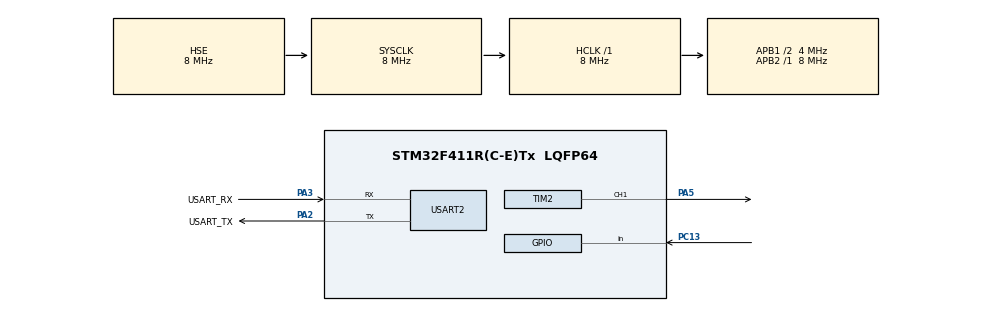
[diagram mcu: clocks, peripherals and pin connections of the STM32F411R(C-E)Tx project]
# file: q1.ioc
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Mcu.Family=STM32F4
Mcu.Name=STM32F411R(C-E)Tx
Mcu.Package=LQFP64
NVIC.PriorityGroup=NVIC_PRIORITYGROUP_0
PA13.GPIO_Label=TMS
PA13.Mode=Serial_Wire
PA13.Signal=SYS_JTMS-SWDIO
PA14.GPIO_Label=TCK
PA14.Mode=Serial_Wire
PA14.Signal=SYS_JTCK-SWCLK
PA2.GPIO_Label=USART_TX
PA2.Mode=Asynchronous
PA2.Signal=USART2_TX
PA3.GPIO_Label=USART_RX
PA3.Mode=Asynchronous
PA3.Signal=USART2_RX
PA5.Signal=S_TIM2_CH1_ETR
PB3.GPIO_Label=SWO
PB3.Signal=SYS_JTDO-SWO
PC13-ANTI_TAMP.Signal=GPIO_Input
PC14-OSC32_IN.Mode=LSE-External-Oscillator
PC14-OSC32_IN.Signal=RCC_OSC32_IN
PC15-OSC32_OUT.Mode=LSE-External-Oscillator
PC15-OSC32_OUT.Signal=RCC_OSC32_OUT
PH0\ -\ OSC_IN.Mode=HSE-External-Clock-Source
PH0\ -\ OSC_IN.Signal=RCC_OSC_IN
PH1\ -\ OSC_OUT.Mode=HSE-External-Clock-Source
PH1\ -\ OSC_OUT.Signal=RCC_OSC_OUT
ProjectManager.HeapSize=0x200
ProjectManager.StackSize=0x400
ProjectManager.TargetToolchain=STM32CubeIDE
RCC.48MHZClocksFreq_Value=42000000
RCC.AHBFreq_Value=8000000
RCC.APB1CLKDivider=RCC_HCLK_DIV2
RCC.APB1Freq_Value=4000000
RCC.APB1TimFreq_Value=8000000
RCC.APB2Freq_Value=8000000
RCC.APB2TimFreq_Value=8000000
RCC.CortexFreq_Value=8000000
RCC.FLatency-AdvancedSettings=FLASH_LATENCY_0
RCC.HCLKFreq_Value=8000000
RCC.HSE_VALUE=8000000
RCC.HSI_VALUE=16000000
RCC.PLLN=336
RCC.PLLP=RCC_PLLP_DIV4
RCC.PLLSourceVirtual=RCC_PLLSOURCE_HSE
RCC.SYSCLKFreq_VALUE=8000000
RCC.SYSCLKSource=RCC_SYSCLKSOURCE_HSE
RCC.VCOOutputFreq_Value=168000000
SH.S_TIM2_CH1_ETR.0=TIM2_CH1,PWM Generation1 CH1
TIM2.Channel-PWM\ Generation1\ CH1=TIM_CHANNEL_1
TIM2.Period=99
TIM2.Prescaler=7999
TIM2.Pulse-PWM\ Generation1\ CH1=50
USART2.VirtualMode=VM_ASYNC
VP_TIM2_VS_ClockSourceINT.Mode=Internal
board=NUCLEO-F411RE

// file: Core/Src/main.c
/* USER CODE BEGIN Header */
/**
  ******************************************************************************
  * @file           : main.c
  * @brief          : Main program body
  ******************************************************************************
  * @attention
  *
  * Copyright (c) 2024 STMicroelectronics.
  * All rights reserved.
  *
  * This software is licensed under terms that can be found in the LICENSE file
  * in the root directory of this software component.
  * If no LICENSE file comes with this software, it is provided AS-IS.
  *
  ******************************************************************************
  */
/* USER CODE END Header */
#include "main.h"

/* USER CODE BEGIN Includes */
#include <stdbool.h>

#include <stdio.h>
#include <stdlib.h>
#include <string.h>
/* USER CODE END Includes */

TIM_HandleTypeDef htim2;

UART_HandleTypeDef huart2;

void SystemClock_Config(void);
static void MX_GPIO_Init(void);
static void MX_USART2_UART_Init(void);
static void MX_TIM2_Init(void);

int main(void)
{

  /* MCU Configuration--------------------------------------------------------*/

  /* Reset of all peripherals, Initializes the Flash interface and the Systick. */
  HAL_Init();

  /* Configure the system clock */
  SystemClock_Config();

  /* Initialize all configured peripherals */
  MX_GPIO_Init();
  MX_USART2_UART_Init();
  MX_TIM2_Init();
  /* USER CODE BEGIN 2 */
  // 6532068721 Nutthapat Pongtanyavichai

  HAL_TIM_PWM_Start(&htim2, TIM_CHANNEL_1);
  bool btnOn = false;
  const char* stdId = "6532068721";
  int currIndex = 0;
  /* USER CODE END 2 */

  /* Infinite loop */
  /* USER CODE BEGIN WHILE */
  while (1)
  {
	  if (HAL_GPIO_ReadPin(GPIOC, GPIO_PIN_13) == GPIO_PIN_RESET) {
		  // Debounce
		  HAL_Delay(10);

		  if (!btnOn && HAL_GPIO_ReadPin(GPIOC, GPIO_PIN_13) == GPIO_PIN_RESET) {
			  btnOn = true;

			  char* buffer = (char *)malloc(sizeof(char) * 100);
			  sprintf(buffer, "%c", stdId[currIndex]);
			  HAL_UART_Transmit(&huart2, buffer, strlen(buffer), 100);
			  free(buffer);

			  currIndex = (currIndex + 1) % 10;
		  }
	  }
	  else {
		  btnOn = false;
	  }

	  HAL_Delay(10);
    /* USER CODE END WHILE */

  }
}

void SystemClock_Config(void)
{
  RCC_OscInitTypeDef RCC_OscInitStruct = {0};
  RCC_ClkInitTypeDef RCC_ClkInitStruct = {0};

  /** Configure the main internal regulator output voltage
  */
  __HAL_RCC_PWR_CLK_ENABLE();
  __HAL_PWR_VOLTAGESCALING_CONFIG(PWR_REGULATOR_VOLTAGE_SCALE1);

  /** Initializes the RCC Oscillators according to the specified parameters
  * in the RCC_OscInitTypeDef structure.
  */
  RCC_OscInitStruct.OscillatorType = RCC_OSCILLATORTYPE_HSE;
  RCC_OscInitStruct.HSEState = RCC_HSE_BYPASS;
  RCC_OscInitStruct.PLL.PLLState = RCC_PLL_NONE;
  if (HAL_RCC_OscConfig(&RCC_OscInitStruct) != HAL_OK)
  {
    Error_Handler();
  }

  /** Initializes the CPU, AHB and APB buses clocks
  */
  RCC_ClkInitStruct.ClockType = RCC_CLOCKTYPE_HCLK|RCC_CLOCKTYPE_SYSCLK
                              |RCC_CLOCKTYPE_PCLK1|RCC_CLOCKTYPE_PCLK2;
  RCC_ClkInitStruct.SYSCLKSource = RCC_SYSCLKSOURCE_HSE;
  RCC_ClkInitStruct.AHBCLKDivider = RCC_SYSCLK_DIV1;
  RCC_ClkInitStruct.APB1CLKDivider = RCC_HCLK_DIV2;
  RCC_ClkInitStruct.APB2CLKDivider = RCC_HCLK_DIV1;

  if (HAL_RCC_ClockConfig(&RCC_ClkInitStruct, FLASH_LATENCY_0) != HAL_OK)
  {
    Error_Handler();
  }
}

static void MX_TIM2_Init(void)
{

  TIM_ClockConfigTypeDef sClockSourceConfig = {0};
  TIM_MasterConfigTypeDef sMasterConfig = {0};
  TIM_OC_InitTypeDef sConfigOC = {0};

  htim2.Instance = TIM2;
  htim2.Init.Prescaler = 7999;
  htim2.Init.CounterMode = TIM_COUNTERMODE_UP;
  htim2.Init.Period = 99;
  htim2.Init.ClockDivision = TIM_CLOCKDIVISION_DIV1;
  htim2.Init.AutoReloadPreload = TIM_AUTORELOAD_PRELOAD_DISABLE;
  if (HAL_TIM_Base_Init(&htim2) != HAL_OK)
  {
    Error_Handler();
  }
  sClockSourceConfig.ClockSource = TIM_CLOCKSOURCE_INTERNAL;
  if (HAL_TIM_ConfigClockSource(&htim2, &sClockSourceConfig) != HAL_OK)
  {
    Error_Handler();
  }
  if (HAL_TIM_PWM_Init(&htim2) != HAL_OK)
  {
    Error_Handler();
  }
  sMasterConfig.MasterOutputTrigger = TIM_TRGO_RESET;
  sMasterConfig.MasterSlaveMode = TIM_MASTERSLAVEMODE_DISABLE;
  if (HAL_TIMEx_MasterConfigSynchronization(&htim2, &sMasterConfig) != HAL_OK)
  {
    Error_Handler();
  }
  sConfigOC.OCMode = TIM_OCMODE_PWM1;
  sConfigOC.Pulse = 50;
  sConfigOC.OCPolarity = TIM_OCPOLARITY_HIGH;
  sConfigOC.OCFastMode = TIM_OCFAST_DISABLE;
  if (HAL_TIM_PWM_ConfigChannel(&htim2, &sConfigOC, TIM_CHANNEL_1) != HAL_OK)
  {
    Error_Handler();
  }
  HAL_TIM_MspPostInit(&htim2);

}

static void MX_USART2_UART_Init(void)
{

  huart2.Instance = USART2;
  huart2.Init.BaudRate = 115200;
  huart2.Init.WordLength = UART_WORDLENGTH_8B;
  huart2.Init.StopBits = UART_STOPBITS_1;
  huart2.Init.Parity = UART_PARITY_NONE;
  huart2.Init.Mode = UART_MODE_TX_RX;
  huart2.Init.HwFlowCtl = UART_HWCONTROL_NONE;
  huart2.Init.OverSampling = UART_OVERSAMPLING_16;
  if (HAL_UART_Init(&huart2) != HAL_OK)
  {
    Error_Handler();
  }

}

static void MX_GPIO_Init(void)
{
  GPIO_InitTypeDef GPIO_InitStruct = {0};

  /* GPIO Ports Clock Enable */
  __HAL_RCC_GPIOC_CLK_ENABLE();
  __HAL_RCC_GPIOH_CLK_ENABLE();
  __HAL_RCC_GPIOA_CLK_ENABLE();
  __HAL_RCC_GPIOB_CLK_ENABLE();

  /*Configure GPIO pin : PC13 */
  GPIO_InitStruct.Pin = GPIO_PIN_13;
  GPIO_InitStruct.Mode = GPIO_MODE_INPUT;
  GPIO_InitStruct.Pull = GPIO_NOPULL;
  HAL_GPIO_Init(GPIOC, &GPIO_InitStruct);

}

void Error_Handler(void)
{
  __disable_irq();
  while (1)
  {
  }
}
